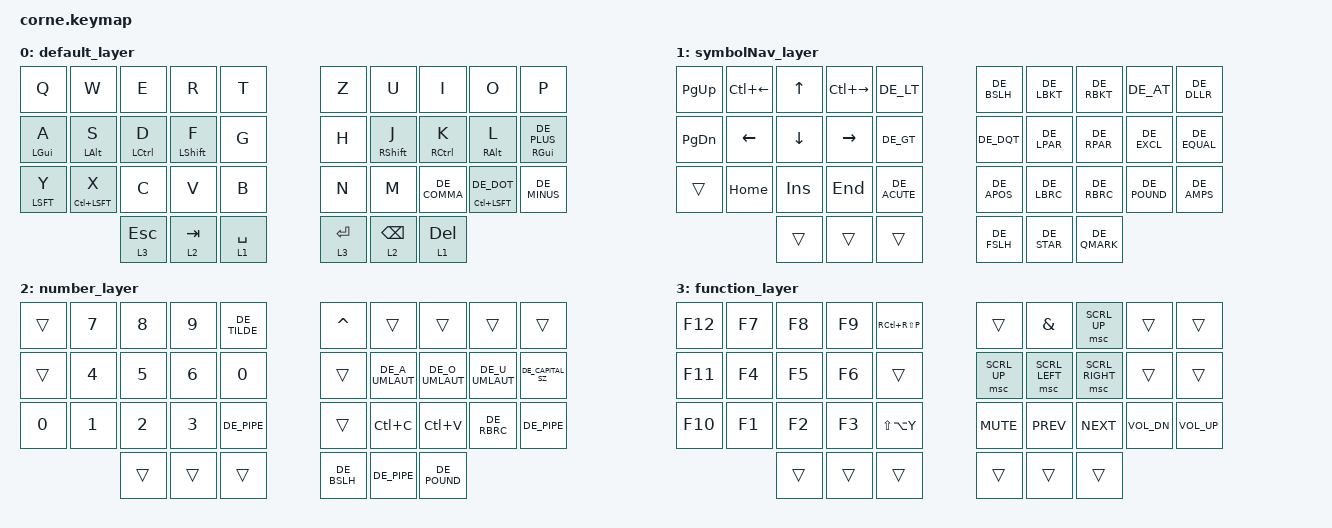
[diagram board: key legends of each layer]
/*
 * Copyright (c) 2020 The ZMK Contributors
 *
 * SPDX-License-Identifier: MIT
 */
#include <dt-bindings/zmk/bt.h>
#include <behaviors.dtsi>
#include <dt-bindings/zmk/keys.h>
#include <dt-bindings/zmk/pointing.h> 
#include "keys_de.h"
#include <dt-bindings/zmk/outputs.h>

/ {
     behaviors {
        // Für Shift (F/J): Schnell (130ms)
        hm_fast: homerow_mods_fast {
            compatible = "zmk,behavior-hold-tap";
            #binding-cells = <2>;
            tapping-term-ms = <130>;
            quick-tap-ms = <0>;
            flavor = "tap-preferred";
            bindings = <&kp>, <&kp>;
        };

        // Standard Homerow Mods (D/S/K/L): Dein Standard (200ms)
        hm: homerow_mods_std {
            compatible = "zmk,behavior-hold-tap";
            #binding-cells = <2>;
            tapping-term-ms = <200>;
            quick-tap-ms = <0>;
            flavor = "tap-preferred";
            bindings = <&kp>, <&kp>;
        };

        // Für GUI (A/Plus): Langsam (700ms)
        hm_slow: homerow_mods_slow {
            compatible = "zmk,behavior-hold-tap";
            #binding-cells = <2>;
            tapping-term-ms = <700>;
            quick-tap-ms = <0>;
            flavor = "tap-preferred";
            bindings = <&kp>, <&kp>;
        };
    };

    combos {
        compatible = "zmk,combos";
        // Timeout: Wie schnell hintereinander gedrückt werden muss (ms)
        timeout-ms = <50>; 

        combo_caps {
            timeout-ms = <50>;
            key-positions = <13 16>; // F und J
            bindings = <&kp CAPS>;
        };

        combo_space {
            key-positions = <16 17>; // J und K
            bindings = <&kp SPACE>;
        };

        combo_enter {
            key-positions = <12 13>; // D und F
            bindings = <&kp ENTER>;
        };

        combo_redo {
            key-positions = <11 12>; // S und D
            bindings = <&kp LC(Y)>;
        };

        combo_undo {
            key-positions = <1 2>;   // W und E
            bindings = <&kp LC(Z)>;
        };
    };

        keymap {
                compatible = "zmk,keymap";

                default_layer {
// -----------------------------------------------------------------------------------------
// |  TAB |  Q  |  W  |  E  |  R  |  T  |   |  Z  |  U   |  I  |  O  |  P  | BSPC |
// | CTRL |  A  |  S  |  D  |  F  |  G  |   |  H  |  J   |  K  |  L  |  ;  |  '   |
// | SHFT |  Y  |  X  |  C  |  V  |  B  |   |  N  |  M   |  ,  |  .  |  /  | ESC  |
//                    | GUI | LWR | SPC |   | ENT | RSE  | ALT |
                        bindings = <
  // Reihe 0
	&kp Q        	&kp W        	&kp E       &kp R        		&kp T   &kp Z       &kp U        		&kp I        	&kp O        		&kp P
	&hm_slow LGUI A &hm LALT S 		&hm LCTRL D &hm_fast LSHFT F 	&kp G   &kp H 		&hm_fast RSHFT J 	&hm RCTRL K 	&hm RALT L 			&hm_slow RGUI DE_PLUS
	&mt LSFT Y   	&mt LC(LSFT) X  &kp C     	&kp V        		&kp B   &kp N       &kp M        		&kp DE_COMMA 	&mt LC(LSFT) DE_DOT &kp DE_MINUS
					&lt 3 ESCAPE  &lt 2 TAB  &lt 1 SPACE            		&lt 3 ENTER  &lt 2 BACKSPACE  &lt 1 DELETE
            >;
                };
                symbolNav_layer {
                        bindings = <
   &kp PAGE_UP 	&kp LC(LEFT)	&kp UP 		&kp LC(RIGHT) 	&kp DE_LT   	&kp DE_BSLH   &kp DE_LBKT &kp DE_RBKT   &kp DE_AT 		&kp DE_DLLR 
   &kp PAGE_DOWN &kp LEFT 		&kp DOWN 	&kp RIGHT 		&kp DE_GT 		&kp DE_DQT    &kp DE_LPAR &kp DE_RPAR 	&kp DE_EXCL 	&kp DE_EQUAL 	
   &trans      	&kp HOME 		&kp INSERT 	&kp END 		&kp DE_ACUTE    &kp DE_APOS   &kp DE_LBRC &kp DE_RBRC  	&kp DE_POUND    &kp DE_AMPS 
                                    &trans     &trans       &trans      &kp DE_FSLH  	&kp DE_STAR   &kp DE_QMARK
                        >;
                };

                number_layer {
                        bindings = <
   &trans   &kp N7 &kp N8   &kp N9   &kp DE_TILDE   	&kp CARET 		&trans  &trans 	&trans				&trans
   &trans   &kp N4 &kp N5   &kp N6   &kp N0      		&trans 			&kp DE_A_UMLAUT &kp DE_O_UMLAUT   	&kp DE_U_UMLAUT  	&kp DE_CAPITAL_SZ 
   &kp N0   &kp N1 &kp N2   &kp N3   &kp DE_PIPE     	&trans 			&kp LC(C)  		&kp LC(V) 			&kp DE_RBRC 		&kp DE_PIPE 
                             &trans &trans   &trans   	&kp DE_BSLH    	&kp DE_PIPE    	&kp DE_POUND 
                        >;
                };
				
                function_layer {
                        bindings = <
   &kp F12   &kp F7 &kp F8 	 &kp F9   &kp RC(RS(P))   &trans 		&kp AMPS  		&msc SCRL_UP 	&trans  		&trans 
   &kp F11   &kp F4 &kp F5   &kp F6   &trans      	  &msc SCRL_UP 	&msc SCRL_LEFT 	&msc SCRL_RIGHT	&trans  		&trans 
   &kp F10   &kp F1 &kp F2   &kp F3   &kp LS(LA(Y))   &kp C_MUTE 	&kp C_PREV  	&kp C_NEXT  	&kp C_VOL_DN 	&kp C_VOL_UP
                             &trans &trans   &trans   &trans   &trans    &trans 
                        >;
                };				
        };
		

};



